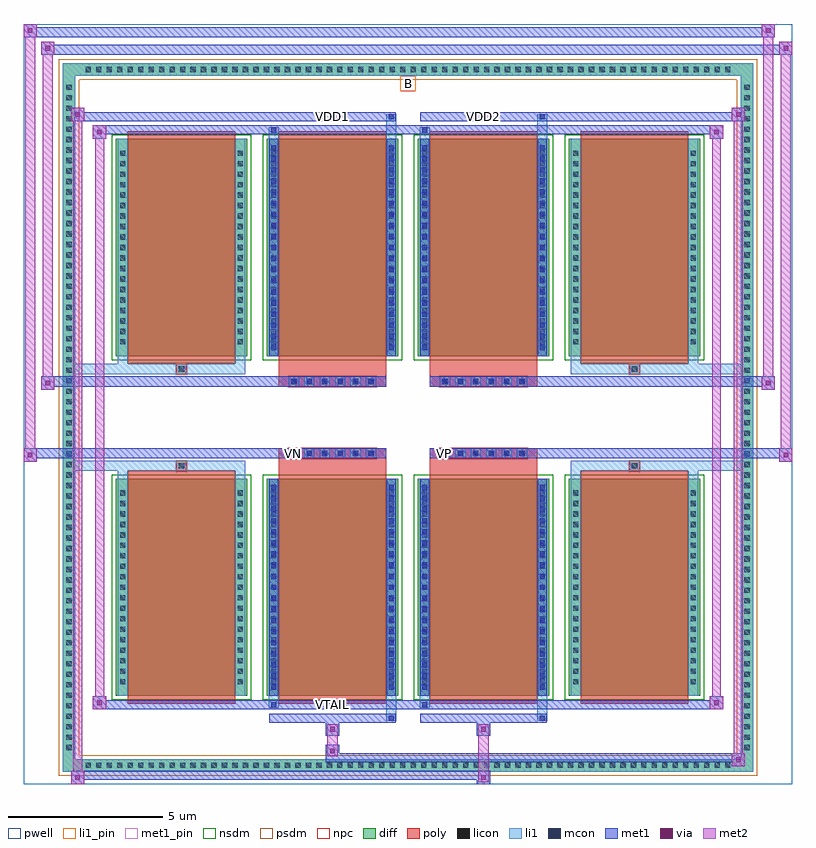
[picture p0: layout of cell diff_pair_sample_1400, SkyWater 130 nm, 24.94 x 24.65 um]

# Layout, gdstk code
import gdstk
lib = gdstk.Library(unit=1e-6, precision=5e-09)
def R(c, l, rs):  # rectangles x0, y0, x1, y1
    for r in rs: c.add(gdstk.rectangle(r[:2], r[2:], *l))
def A(c, l, x, y, w, h, nx, ny, dx, dy):  # array of equal rectangles
    R(c, l, [(x+i*dx, y+j*dy, x+i*dx+w, y+j*dy+h) for i in range(nx) for j in range(ny)])
def P(c, l, *ps):  # polygons
    for p in ps: c.add(gdstk.Polygon(p, *l))
pwell = (64, 44)
diff = (65, 20)
poly = (66, 20)
licon = (66, 44)
li1_pin = (67, 16)
li1 = (67, 20)
mcon = (67, 44)
met1_pin = (68, 16)
met1 = (68, 20)
via = (68, 44)
met2 = (69, 20)
nsdm = (93, 44)
psdm = (94, 20)
npc = (95, 20)

diff_pair_sample_1400 = lib.new_cell('diff_pair_sample_1400')
R(diff_pair_sample_1400, pwell, [(-12.47,-11.89,12.47,12.76), (-9.79,-10.08,-0.01,-0.8), (0.01,-10.08,9.79,-0.8), (-9.79,0.8,-0.01,10.08), (0.01,0.8,9.79,10.08)])
A(diff_pair_sample_1400, diff, -10.575, -11.49, 0.41, 0.41, 62, 2, 0.34, 22.57)
A(diff_pair_sample_1400, diff, -11.2, -10.915, 0.41, 0.41, 1, 64, 0, 0.34)
A(diff_pair_sample_1400, diff, 10.79, -10.915, 0.41, 0.41, 1, 64, 0, 0.34)
A(diff_pair_sample_1400, diff, -9.48, -9.035, 4.26, 7.05, 4, 2, 4.9, 11.02)
R(diff_pair_sample_1400, diff, [(-10.575,-11.49,10.575,-11.08), (-11.2,-10.915,-10.79,10.915), (10.79,-10.915,11.2,10.915), (-10.575,11.08,10.575,11.49)])
P(diff_pair_sample_1400, diff, [(11.2,11.49),(-11.2,11.49),(-11.2,-11.08),(-10.79,-11.08),(-10.79,11.08),(10.79,11.08),(10.79,-11.08),(-10.79,-11.08),(-11.2,-11.08),(-11.2,-11.49),(11.2,-11.49)])
A(diff_pair_sample_1400, poly, -9.09, -9.285, 3.48, 7.55, 4, 2, 4.9, 11.02)
A(diff_pair_sample_1400, poly, -3.865, -1.33, 0.33, 0.33, 6, 2, 0.5, 2.33)
A(diff_pair_sample_1400, poly, 1.035, -1.33, 0.33, 0.33, 6, 2, 0.5, 2.33)
R(diff_pair_sample_1400, poly, [(-7.515,-1.735,-7.185,-1.405), (-7.515,-1.735,-7.185,-1.405), (-4.19,-1.735,-0.71,-1.33), (0.71,-1.735,4.19,-1.33), (7.185,-1.735,7.515,-1.405), (7.185,-1.735,7.515,-1.405), (-4.19,-1.33,-0.71,-1), (0.71,-1.33,4.19,-1), (-4.19,1,-0.71,1.33), (0.71,1,4.19,1.33), (-4.19,1.33,-0.71,1.735), (0.71,1.33,4.19,1.735), (-7.515,1.405,-7.185,1.735), (-7.515,1.405,-7.185,1.735), (7.185,1.405,7.515,1.735), (7.185,1.405,7.515,1.735)])
A(diff_pair_sample_1400, licon, -10.455, -11.37, 0.17, 0.17, 62, 2, 0.34, 22.57)
A(diff_pair_sample_1400, licon, -11.08, -10.795, 0.17, 0.17, 1, 64, 0, 0.34)
A(diff_pair_sample_1400, licon, 10.91, -10.795, 0.17, 0.17, 1, 64, 0, 0.34)
A(diff_pair_sample_1400, licon, -9.34, -8.655, 0.17, 0.17, 1, 19, 0, 0.34)
A(diff_pair_sample_1400, licon, -5.53, -8.655, 0.17, 0.17, 1, 19, 0, 0.34)
A(diff_pair_sample_1400, licon, -4.44, -8.655, 0.17, 0.17, 1, 19, 0, 0.34)
A(diff_pair_sample_1400, licon, -0.63, -8.655, 0.17, 0.17, 1, 19, 0, 0.34)
A(diff_pair_sample_1400, licon, 0.46, -8.655, 0.17, 0.17, 1, 19, 0, 0.34)
A(diff_pair_sample_1400, licon, 4.27, -8.655, 0.17, 0.17, 1, 19, 0, 0.34)
A(diff_pair_sample_1400, licon, 5.36, -8.655, 0.17, 0.17, 1, 19, 0, 0.34)
A(diff_pair_sample_1400, licon, 9.17, -8.655, 0.17, 0.17, 1, 19, 0, 0.34)
A(diff_pair_sample_1400, licon, -3.785, -1.25, 0.17, 0.17, 6, 2, 0.5, 2.33)
A(diff_pair_sample_1400, licon, 1.115, -1.25, 0.17, 0.17, 6, 2, 0.5, 2.33)
A(diff_pair_sample_1400, licon, -9.34, 2.365, 0.17, 0.17, 1, 19, 0, 0.34)
A(diff_pair_sample_1400, licon, -5.53, 2.365, 0.17, 0.17, 1, 19, 0, 0.34)
A(diff_pair_sample_1400, licon, -4.44, 2.365, 0.17, 0.17, 1, 19, 0, 0.34)
A(diff_pair_sample_1400, licon, -0.63, 2.365, 0.17, 0.17, 1, 19, 0, 0.34)
A(diff_pair_sample_1400, licon, 0.46, 2.365, 0.17, 0.17, 1, 19, 0, 0.34)
A(diff_pair_sample_1400, licon, 4.27, 2.365, 0.17, 0.17, 1, 19, 0, 0.34)
A(diff_pair_sample_1400, licon, 5.36, 2.365, 0.17, 0.17, 1, 19, 0, 0.34)
A(diff_pair_sample_1400, licon, 9.17, 2.365, 0.17, 0.17, 1, 19, 0, 0.34)
R(diff_pair_sample_1400, licon, [(-7.435,-1.655,-7.265,-1.485), (7.265,-1.655,7.435,-1.485), (-7.435,1.485,-7.265,1.655), (7.265,1.485,7.435,1.655)])
R(diff_pair_sample_1400, li1_pin, [(-0.25,10.58,0.25,11.08)])
A(diff_pair_sample_1400, li1, -10.535, -11.45, 0.33, 0.33, 62, 2, 0.34, 22.57)
A(diff_pair_sample_1400, li1, -11.16, -10.875, 0.33, 0.33, 1, 64, 0, 0.34)
A(diff_pair_sample_1400, li1, 10.83, -10.875, 0.33, 0.33, 1, 64, 0, 0.34)
A(diff_pair_sample_1400, li1, -4.44, -8.835, 0.17, 0.17, 1, 19, 0, 0.36)
A(diff_pair_sample_1400, li1, -0.63, -8.835, 0.17, 0.17, 1, 19, 0, 0.36)
A(diff_pair_sample_1400, li1, 0.46, -8.835, 0.17, 0.17, 1, 19, 0, 0.36)
A(diff_pair_sample_1400, li1, 4.27, -8.835, 0.17, 0.17, 1, 19, 0, 0.36)
A(diff_pair_sample_1400, li1, -9.42, -8.735, 0.33, 0.33, 1, 19, 0, 0.34)
A(diff_pair_sample_1400, li1, -5.61, -8.735, 0.33, 0.33, 1, 19, 0, 0.34)
A(diff_pair_sample_1400, li1, -4.52, -8.735, 0.33, 0.33, 1, 19, 0, 0.34)
A(diff_pair_sample_1400, li1, -0.71, -8.735, 0.33, 0.33, 1, 19, 0, 0.34)
A(diff_pair_sample_1400, li1, 0.38, -8.735, 0.33, 0.33, 1, 19, 0, 0.34)
A(diff_pair_sample_1400, li1, 4.19, -8.735, 0.33, 0.33, 1, 19, 0, 0.34)
A(diff_pair_sample_1400, li1, 5.28, -8.735, 0.33, 0.33, 1, 19, 0, 0.34)
A(diff_pair_sample_1400, li1, 9.09, -8.735, 0.33, 0.33, 1, 19, 0, 0.34)
A(diff_pair_sample_1400, li1, -3.865, -1.33, 0.33, 0.33, 6, 2, 0.5, 2.33)
A(diff_pair_sample_1400, li1, 1.035, -1.33, 0.33, 0.33, 6, 2, 0.5, 2.33)
A(diff_pair_sample_1400, li1, -4.44, 2.185, 0.17, 0.17, 1, 19, 0, 0.36)
A(diff_pair_sample_1400, li1, -0.63, 2.185, 0.17, 0.17, 1, 19, 0, 0.36)
A(diff_pair_sample_1400, li1, 0.46, 2.185, 0.17, 0.17, 1, 19, 0, 0.36)
A(diff_pair_sample_1400, li1, 4.27, 2.185, 0.17, 0.17, 1, 19, 0, 0.36)
A(diff_pair_sample_1400, li1, -9.42, 2.285, 0.33, 0.33, 1, 19, 0, 0.34)
A(diff_pair_sample_1400, li1, -5.61, 2.285, 0.33, 0.33, 1, 19, 0, 0.34)
A(diff_pair_sample_1400, li1, -4.52, 2.285, 0.33, 0.33, 1, 19, 0, 0.34)
A(diff_pair_sample_1400, li1, -0.71, 2.285, 0.33, 0.33, 1, 19, 0, 0.34)
A(diff_pair_sample_1400, li1, 0.38, 2.285, 0.33, 0.33, 1, 19, 0, 0.34)
A(diff_pair_sample_1400, li1, 4.19, 2.285, 0.33, 0.33, 1, 19, 0, 0.34)
A(diff_pair_sample_1400, li1, 5.28, 2.285, 0.33, 0.33, 1, 19, 0, 0.34)
A(diff_pair_sample_1400, li1, 9.09, 2.285, 0.33, 0.33, 1, 19, 0, 0.34)
R(diff_pair_sample_1400, li1, [(-11.2,-11.49,-10.79,-11.08), (-11.2,-11.49,-10.79,-11.08), (-10.79,-11.49,10.79,-11.08), (10.79,-11.49,11.2,-11.08), (10.79,-11.49,11.2,-11.08), (-11.2,-11.08,-10.79,11.08), (10.79,-11.08,11.2,11.08), (-0.71,-9.84,-0.38,-9.035), (-0.63,-9.84,-0.46,-9.67), (4.19,-9.84,4.52,-9.035), (4.27,-9.84,4.44,-9.67), (-4.52,-9.41,-4.19,-9.035), (-4.44,-9.41,-4.27,-9.24), (0.38,-9.41,0.71,-9.035), (0.46,-9.41,0.63,-9.24), (-9.42,-9.035,-9.09,-1.985), (-5.61,-9.035,-5.28,-1.985), (-4.52,-9.035,-4.19,-1.985), (-0.71,-9.035,-0.38,-1.985), (0.38,-9.035,0.71,-1.985), (4.19,-9.035,4.52,-1.985), (5.28,-9.035,5.61,-1.985), (9.09,-9.035,9.42,-1.985), (-4.44,-8.835,-4.27,-2.185), (-0.63,-8.835,-0.46,-2.185), (0.46,-8.835,0.63,-2.185), (4.27,-8.835,4.44,-2.185), (-9.42,-1.985,-9.09,-1.405), (-5.61,-1.985,-5.28,-1.405), (5.28,-1.985,5.61,-1.405), (9.09,-1.985,9.42,-1.405), (-11.2,-1.735,-7.515,-1.405), (-9.42,-1.735,-7.515,-1.405), (-7.515,-1.735,-7.185,-1.405), (-7.185,-1.735,-5.28,-1.405), (5.28,-1.735,7.185,-1.405), (7.185,-1.735,7.515,-1.405), (7.185,-1.735,11.2,-1.405), (7.515,-1.735,9.42,-1.405), (-11.2,1.405,-7.515,1.735), (-9.42,1.405,-7.515,1.735), (-9.42,1.405,-9.09,1.985), (-7.515,1.405,-7.185,1.735), (-7.185,1.405,-5.28,1.735), (-5.61,1.405,-5.28,1.985), (5.28,1.405,7.185,1.735), (5.28,1.405,5.61,1.985), (7.185,1.405,7.515,1.735), (7.185,1.405,11.2,1.735), (7.515,1.405,9.42,1.735), (9.09,1.405,9.42,1.985), (-9.42,1.985,-9.09,9.035), (-5.61,1.985,-5.28,9.035), (-4.52,1.985,-4.19,9.035), (-0.71,1.985,-0.38,9.035), (0.38,1.985,0.71,9.035), (4.19,1.985,4.52,9.035), (5.28,1.985,5.61,9.035), (9.09,1.985,9.42,9.035), (-4.44,2.185,-4.27,8.835), (-0.63,2.185,-0.46,8.835), (0.46,2.185,0.63,8.835), (4.27,2.185,4.44,8.835), (-4.52,9.035,-4.19,9.41), (-0.71,9.035,-0.38,9.84), (0.38,9.035,0.71,9.41), (4.19,9.035,4.52,9.84), (-4.44,9.24,-4.27,9.41), (0.46,9.24,0.63,9.41), (-0.63,9.67,-0.46,9.84), (4.27,9.67,4.44,9.84), (-11.2,11.08,-10.79,11.49), (-11.2,11.08,-10.79,11.49), (-10.79,11.08,10.79,11.49), (10.79,11.08,11.2,11.49), (10.79,11.08,11.2,11.49)])
A(diff_pair_sample_1400, mcon, -4.44, -8.835, 0.17, 0.17, 1, 19, 0, 0.36)
A(diff_pair_sample_1400, mcon, -0.63, -8.835, 0.17, 0.17, 1, 19, 0, 0.36)
A(diff_pair_sample_1400, mcon, 0.46, -8.835, 0.17, 0.17, 1, 19, 0, 0.36)
A(diff_pair_sample_1400, mcon, 4.27, -8.835, 0.17, 0.17, 1, 19, 0, 0.36)
A(diff_pair_sample_1400, mcon, -3.785, -1.25, 0.17, 0.17, 6, 2, 0.5, 2.33)
A(diff_pair_sample_1400, mcon, 1.115, -1.25, 0.17, 0.17, 6, 2, 0.5, 2.33)
A(diff_pair_sample_1400, mcon, -4.44, 2.185, 0.17, 0.17, 1, 19, 0, 0.36)
A(diff_pair_sample_1400, mcon, -0.63, 2.185, 0.17, 0.17, 1, 19, 0, 0.36)
A(diff_pair_sample_1400, mcon, 0.46, 2.185, 0.17, 0.17, 1, 19, 0, 0.36)
A(diff_pair_sample_1400, mcon, 4.27, 2.185, 0.17, 0.17, 1, 19, 0, 0.36)
R(diff_pair_sample_1400, mcon, [(-0.63,-9.84,-0.46,-9.67), (4.27,-9.84,4.44,-9.67), (-4.44,-9.41,-4.27,-9.24), (0.46,-9.41,0.63,-9.24), (-4.44,9.24,-4.27,9.41), (0.46,9.24,0.63,9.41), (-0.63,9.67,-0.46,9.84), (4.27,9.67,4.44,9.84)])
R(diff_pair_sample_1400, met1_pin, [(-2.585,-9.45,-2.315,-9.18), (-3.835,-1.29,-3.565,-1.02), (1.065,-1.29,1.335,-1.02), (-2.585,9.63,-2.315,9.9), (2.315,9.63,2.585,9.9)])
A(diff_pair_sample_1400, met1, -4.5, -8.895, 0.29, 0.29, 1, 19, 0, 0.36)
A(diff_pair_sample_1400, met1, -0.69, -8.895, 0.29, 0.29, 1, 19, 0, 0.36)
A(diff_pair_sample_1400, met1, 0.4, -8.895, 0.29, 0.29, 1, 19, 0, 0.36)
A(diff_pair_sample_1400, met1, 4.21, -8.895, 0.29, 0.29, 1, 19, 0, 0.36)
A(diff_pair_sample_1400, met1, -3.845, -1.31, 0.29, 0.29, 6, 2, 0.5, 2.33)
A(diff_pair_sample_1400, met1, 1.055, -1.31, 0.29, 0.29, 6, 2, 0.5, 2.33)
A(diff_pair_sample_1400, met1, -4.5, 2.125, 0.29, 0.29, 1, 19, 0, 0.36)
A(diff_pair_sample_1400, met1, -0.69, 2.125, 0.29, 0.29, 1, 19, 0, 0.36)
A(diff_pair_sample_1400, met1, 0.4, 2.125, 0.29, 0.29, 1, 19, 0, 0.36)
A(diff_pair_sample_1400, met1, 4.21, 2.125, 0.29, 0.29, 1, 19, 0, 0.36)
R(diff_pair_sample_1400, met1, [(-10.93,-11.89,-10.5,-11.46), (2.235,-11.89,2.665,-11.46), (-10.93,-11.75,2.665,-11.46), (10.5,-11.32,10.93,-10.89), (-2.665,-11.18,10.93,-10.89), (-2.665,-11.04,-2.235,-10.61), (-2.665,-10.33,-2.235,-9.9), (2.235,-10.33,2.665,-9.9), (-4.5,-9.9,-0.4,-9.61), (-0.69,-9.9,-0.4,-9.61), (0.4,-9.9,4.5,-9.61), (4.21,-9.9,4.5,-9.61), (-10.22,-9.47,-9.79,-9.04), (-10.22,-9.47,-4.5,-9.18), (-4.5,-9.47,-4.21,-9.18), (-4.5,-9.47,-0.4,-9.18), (-0.4,-9.47,0.4,-9.18), (0.4,-9.47,0.69,-9.18), (0.4,-9.47,4.5,-9.18), (4.5,-9.47,10.22,-9.18), (9.79,-9.47,10.22,-9.04), (-4.5,-9.035,-4.21,-1.985), (-0.69,-9.035,-0.4,-1.985), (0.4,-9.035,0.69,-1.985), (4.21,-9.035,4.5,-1.985), (-12.47,-1.43,-12.04,-1), (12.04,-1.43,12.47,-1), (-12.47,-1.33,-0.71,-1), (-4.19,-1.33,-0.71,-1), (0.71,-1.33,4.19,-1), (0.71,-1.33,12.47,-1), (-11.9,0.9,-11.47,1.33), (11.47,0.9,11.9,1.33), (-11.9,1,-4.19,1.33), (-4.19,1,-0.71,1.33), (0.71,1,4.19,1.33), (4.19,1,11.9,1.33), (-4.5,1.985,-4.21,9.035), (-0.69,1.985,-0.4,9.035), (0.4,1.985,0.69,9.035), (4.21,1.985,4.5,9.035), (-10.22,9.04,-9.79,9.47), (9.79,9.04,10.22,9.47), (-10.22,9.18,-4.5,9.47), (-4.5,9.18,-4.21,9.47), (-4.5,9.18,-0.4,9.47), (-0.4,9.18,0.4,9.47), (0.4,9.18,0.69,9.47), (0.4,9.18,4.5,9.47), (4.5,9.18,10.22,9.47), (-10.93,9.61,-10.5,10.04), (-10.93,9.61,-4.5,9.9), (-4.5,9.61,-0.4,9.9), (-0.69,9.61,-0.4,9.9), (0.4,9.61,4.5,9.9), (4.21,9.61,4.5,9.9), (4.5,9.61,10.93,9.9), (10.5,9.61,10.93,10.04), (-11.9,11.76,-11.47,12.19), (-11.9,11.76,-9.79,12.09), (-9.79,11.76,9.79,12.09), (9.79,11.76,12.47,12.09), (12.04,11.76,12.47,12.19), (-12.47,12.33,-12.04,12.76), (-12.47,12.33,-9.79,12.66), (-9.79,12.33,9.79,12.66), (9.79,12.33,11.9,12.66), (11.47,12.33,11.9,12.76)])
R(diff_pair_sample_1400, via, [(-10.79,-11.75,-10.64,-11.6), (2.375,-11.75,2.525,-11.6), (10.64,-11.18,10.79,-11.03), (-2.525,-10.9,-2.375,-10.75), (-2.525,-10.19,-2.375,-10.04), (2.375,-10.19,2.525,-10.04), (-10.08,-9.33,-9.93,-9.18), (9.93,-9.33,10.08,-9.18), (-12.33,-1.29,-12.18,-1.14), (12.18,-1.29,12.33,-1.14), (-11.76,1.04,-11.61,1.19), (11.61,1.04,11.76,1.19), (-10.08,9.18,-9.93,9.33), (9.93,9.18,10.08,9.33), (-10.79,9.75,-10.64,9.9), (10.64,9.75,10.79,9.9), (-11.76,11.9,-11.61,12.05), (12.18,11.9,12.33,12.05), (-12.33,12.47,-12.18,12.62), (11.61,12.47,11.76,12.62)])
R(diff_pair_sample_1400, met2, [(-10.93,-11.89,-10.5,-11.46), (-10.86,-11.89,-10.57,10.04), (-10.57,-11.89,-10.5,-11.46), (-10.88,-11.84,-10.55,-11.51), (2.285,-11.84,2.615,-11.51), (2.285,-11.51,2.615,-10.28), (10.5,-11.32,10.93,-10.89), (10.57,-11.32,10.86,10.04), (10.86,-11.32,10.93,-10.89), (10.55,-11.27,10.88,-10.94), (-2.615,-10.99,-2.285,-10.66), (-2.615,-10.66,-2.285,-10.28), (-2.615,-10.28,-2.285,-9.95), (2.285,-10.28,2.615,-9.95), (-10.22,-9.47,-9.79,-9.04), (-10.15,-9.47,-9.86,9.47), (-9.86,-9.47,-9.79,-9.04), (9.79,-9.47,10.22,-9.04), (9.86,-9.47,10.15,9.47), (10.15,-9.47,10.22,-9.04), (-10.17,-9.42,-9.84,-9.09), (9.84,-9.42,10.17,-9.09), (-12.47,-1.43,-12.04,-1), (-12.42,-1.43,-12.09,12.76), (-12.09,-1.43,-12.04,-1), (12.04,-1.43,12.47,-1), (12.09,-1.43,12.42,12.19), (12.42,-1.43,12.47,-1), (-12.42,-1.38,-12.09,-1.05), (12.09,-1.38,12.42,-1.05), (-11.9,0.9,-11.47,1.33), (-11.85,0.9,-11.52,12.19), (-11.52,0.9,-11.47,1.33), (11.47,0.9,11.9,1.33), (11.52,0.9,11.85,12.76), (11.85,0.9,11.9,1.33), (-11.85,0.95,-11.52,1.28), (11.52,0.95,11.85,1.28), (-10.22,9.04,-9.79,9.47), (-9.86,9.04,-9.79,9.47), (9.79,9.04,10.22,9.47), (10.15,9.04,10.22,9.47), (-10.17,9.09,-9.84,9.42), (9.84,9.09,10.17,9.42), (-10.93,9.61,-10.5,10.04), (-10.57,9.61,-10.5,10.04), (10.5,9.61,10.93,10.04), (10.86,9.61,10.93,10.04), (-10.88,9.66,-10.55,9.99), (10.55,9.66,10.88,9.99), (-11.9,11.76,-11.47,12.19), (-11.52,11.76,-11.47,12.19), (12.04,11.76,12.47,12.19), (12.42,11.76,12.47,12.19), (-11.85,11.81,-11.52,12.14), (12.09,11.81,12.42,12.14), (-12.47,12.33,-12.04,12.76), (-12.09,12.33,-12.04,12.76), (11.47,12.33,11.9,12.76), (11.85,12.33,11.9,12.76), (-12.42,12.38,-12.09,12.71), (11.52,12.38,11.85,12.71)])
A(diff_pair_sample_1400, nsdm, -9.61, -9.165, 4.52, 7.31, 4, 2, 4.9, 11.02)
P(diff_pair_sample_1400, psdm, [(11.33,11.62),(-11.33,11.62),(-11.33,-10.95),(-10.66,-10.95),(-10.66,10.95),(10.66,10.95),(10.66,-10.95),(-10.66,-10.95),(-11.33,-10.95),(-11.33,-11.62),(11.33,-11.62)])
A(diff_pair_sample_1400, npc, -3.885, -1.35, 0.37, 0.37, 6, 2, 0.5, 2.33)
A(diff_pair_sample_1400, npc, 1.015, -1.35, 0.37, 0.37, 6, 2, 0.5, 2.33)
R(diff_pair_sample_1400, npc, [(-7.535,-1.755,-7.165,-1.385), (7.165,-1.755,7.535,-1.385), (-3.885,-1.35,-3.015,-0.98), (-3.885,-1.35,-3.015,-0.98), (-3.385,-1.35,-2.515,-0.98), (-3.385,-1.35,-2.515,-0.98), (-2.885,-1.35,-2.015,-0.98), (-2.885,-1.35,-2.015,-0.98), (-2.385,-1.35,-1.515,-0.98), (-2.385,-1.35,-1.515,-0.98), (-1.885,-1.35,-1.015,-0.98), (-1.885,-1.35,-1.015,-0.98), (1.015,-1.35,1.885,-0.98), (1.015,-1.35,1.885,-0.98), (1.515,-1.35,2.385,-0.98), (1.515,-1.35,2.385,-0.98), (2.015,-1.35,2.885,-0.98), (2.015,-1.35,2.885,-0.98), (2.515,-1.35,3.385,-0.98), (2.515,-1.35,3.385,-0.98), (3.015,-1.35,3.885,-0.98), (3.015,-1.35,3.885,-0.98), (-3.885,0.98,-3.015,1.35), (-3.885,0.98,-3.015,1.35), (-3.385,0.98,-2.515,1.35), (-3.385,0.98,-2.515,1.35), (-2.885,0.98,-2.015,1.35), (-2.885,0.98,-2.015,1.35), (-2.385,0.98,-1.515,1.35), (-2.385,0.98,-1.515,1.35), (-1.885,0.98,-1.015,1.35), (-1.885,0.98,-1.015,1.35), (1.015,0.98,1.885,1.35), (1.015,0.98,1.885,1.35), (1.515,0.98,2.385,1.35), (1.515,0.98,2.385,1.35), (2.015,0.98,2.885,1.35), (2.015,0.98,2.885,1.35), (2.515,0.98,3.385,1.35), (2.515,0.98,3.385,1.35), (3.015,0.98,3.885,1.35), (3.015,0.98,3.885,1.35), (-7.535,1.385,-7.165,1.755), (7.165,1.385,7.535,1.755)])
diff_pair_sample_1400.add(gdstk.Label('VTAIL', (-2.45,-9.315), layer=68, texttype=5))
diff_pair_sample_1400.add(gdstk.Label('VN', (-3.7,-1.155), layer=68, texttype=5))
diff_pair_sample_1400.add(gdstk.Label('VP', (1.2,-1.155), layer=68, texttype=5))
diff_pair_sample_1400.add(gdstk.Label('B', (0,10.83), layer=67, texttype=5))
diff_pair_sample_1400.add(gdstk.Label('VDD2', (2.45,9.765), layer=68, texttype=5))
diff_pair_sample_1400.add(gdstk.Label('VDD1', (-2.45,9.765), layer=68, texttype=5))

lib.write_gds('diff_pair_sample_1400.gds')
